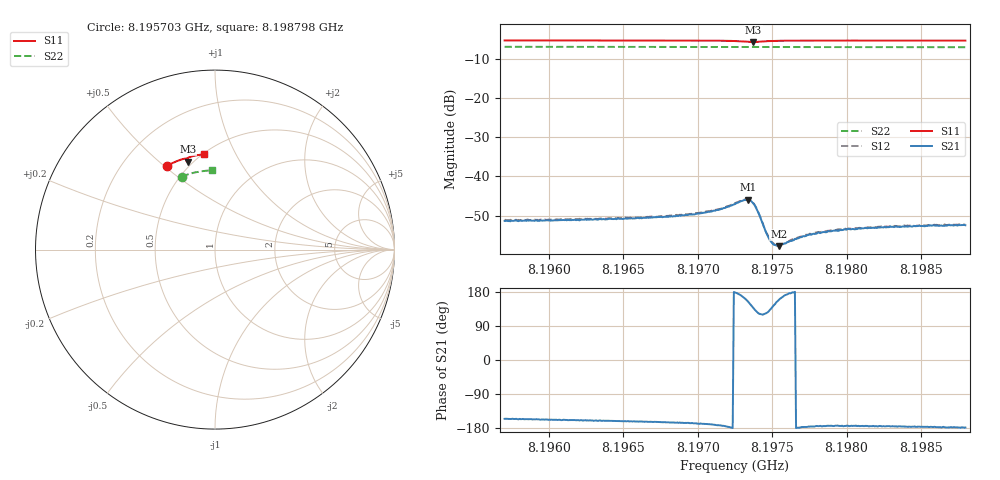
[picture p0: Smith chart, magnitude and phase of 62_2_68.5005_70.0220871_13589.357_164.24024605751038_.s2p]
#  HZ  S  RI  R  50.00
! Rohde & Schwarz Vector Network Analyzer
! Rohde-Schwarz,ZNB20-2Port,1311601062101988,3.16
! Created: UTC 3/20/2024, 4:51:17 PM
! freq[Hz]  re:S11  im:S11  re:S21  im:S21  re:S12  im:S12  re:S22  im:S22
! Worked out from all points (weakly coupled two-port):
!   401 points, 8.195703 GHz to 8.198798 GHz, reference 50 ohm
!   highest |S21| = -45.90 dB at 8.197336 GHz (marker M1); lowest = -57.8 dB at 8.197545 GHz (marker M2)
!   lowest |S11| = -5.8 dB at 8.197374 GHz (marker M3), VSWR 3.11, Z = 23.5 + j31.2 ohm
!   |S11| at or under -10 dB: nowhere
!   |S22| runs from -7.1 to -7.0 dB; largest |S21 - S12| = 0.00025
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8.1957026e9  -0.2656 0.4673  -0.00246 -0.00113  -0.00256 -0.0011  -0.1845 0.4063
8.1962211e9  -0.2322 0.4842  -0.00262 -0.000994  -0.00273 -0.000907  -0.1574 0.4168
8.1967397e9  -0.1974 0.4985  -0.00292 -0.00084  -0.00301 -0.000756  -0.1296 0.4253
8.1970183e9  -0.1766 0.5051  -0.0033 -0.000725  -0.00341 -0.000593  -0.1144 0.4291
8.1971421e9  -0.1658 0.5069  -0.00372 -0.00051  -0.00381 -0.000372  -0.1075 0.4307
8.1972505e9  -0.1541 0.5058  -0.00443 0.000138  -0.00456 0.000313  -0.1016 0.4319
8.1972969e9  -0.1487 0.5018  -0.00476 0.000962  -0.00479 0.00121  -0.0989 0.4322
8.1973356e9  -0.1471 0.4954  -0.0046 0.00212  -0.00455 0.00232  -0.0968 0.4326
8.1973588e9  -0.1493 0.4915  -0.00394 0.00283  -0.00385 0.00305  -0.0957 0.4326
8.1973743e9  -0.1522 0.4899  -0.00329 0.00309  -0.00319 0.00326  -0.0949 0.4327
8.1974053e9  -0.1581 0.4914  -0.00197 0.0029  -0.00191 0.003  -0.0934 0.433
8.1974594e9  -0.1607 0.5004  -0.00106 0.00161  -0.00101 0.00166  -0.0905 0.4339
8.1974827e9  -0.1593 0.5035  -0.00103 0.00117  -0.00101 0.00122  -0.0892 0.4341
8.1974981e9  -0.1582 0.5053  -0.00107 0.000964  -0.00102 0.00102  -0.0883 0.4343
8.1975136e9  -0.1571 0.5067  -0.0011 0.000761  -0.00111 0.000815  -0.0875 0.4345
8.1975446e9  -0.1542 0.5091  -0.0012 0.000471  -0.00124 0.000543  -0.0858 0.4348
8.1975755e9  -0.1515 0.5111  -0.00134 0.000288  -0.00133 0.000371  -0.0841 0.4353
8.1976994e9  -0.1408 0.5156  -0.00168 -9.5e-05  -0.0017 2.34e-05  -0.0771 0.4363
8.197769e9  -0.1355 0.5175  -0.00183 -0.000144  -0.00186 -6.45e-05  -0.0731 0.4367
8.1980012e9  -0.118 0.522  -0.00209 -0.000251  -0.00211 -0.000114  -0.0603 0.4385
8.1982876e9  -0.0973 0.5263  -0.00225 -0.000218  -0.00231 -8.46e-05  -0.0441 0.4397
8.1987984e9  -0.0609 0.5312  -0.00239 -7.36e-05  -0.00241 2.56e-05  -0.0152 0.4407
